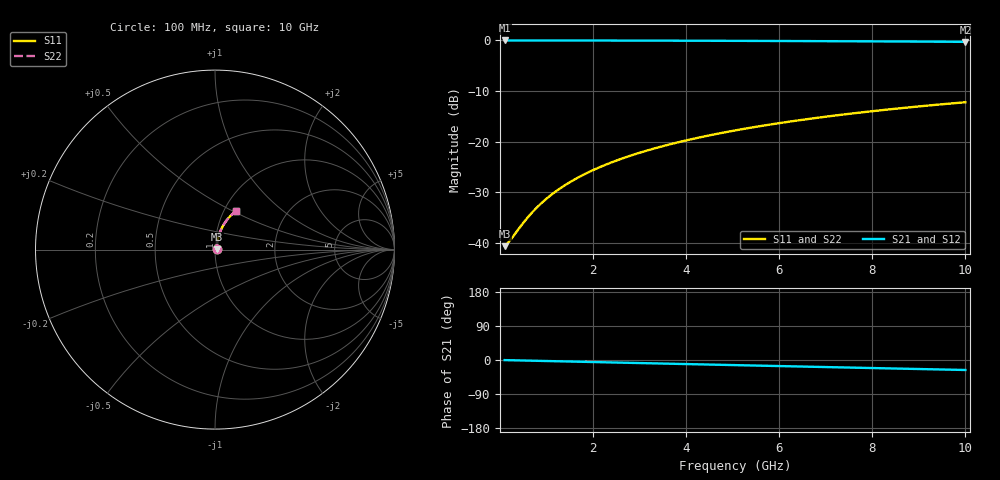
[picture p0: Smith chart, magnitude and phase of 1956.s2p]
# Hz S RI R 50.00
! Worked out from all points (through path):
!   100 points, 100 MHz to 10 GHz, reference 50 ohm
!   highest |S21| = -0.08 dB at 100 MHz (marker M1); lowest = -0.4 dB at 10 GHz (marker M2)
!   group delay of S21, straight-line fit = 7.33 ps
!   lowest |S11| = -40.6 dB at 100 MHz (marker M3), VSWR 1.02, Z = 50.9 + j0.258 ohm
!   |S11| at or under -10 dB: start of sweep to end of sweep
!   |S22| runs from -40.6 to -12.2 dB; largest |S21 - S12| = 0
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1e8  0.00897 0.00254  0.991 -0.00465  0.991 -0.00465  0.00897 0.00254
2e8  0.00907 0.00508  0.9909 -0.0093  0.9909 -0.0093  0.00907 0.00508
5e8  0.00942 0.0127  0.9905 -0.0232  0.9905 -0.0232  0.00942 0.0127
6e8  0.00958 0.0152  0.9903 -0.0279  0.9903 -0.0279  0.00958 0.0152
7e8  0.00976 0.0177  0.9901 -0.0325  0.9901 -0.0325  0.00976 0.0177
9e8  0.0102 0.0228  0.9896 -0.0418  0.9896 -0.0418  0.0102 0.0228
1.1e9  0.0107 0.0278  0.989 -0.0511  0.989 -0.0511  0.0107 0.0278
1.3e9  0.0113 0.0329  0.9883 -0.0603  0.9883 -0.0603  0.0113 0.0329
1.5e9  0.012 0.0379  0.9875 -0.0696  0.9875 -0.0696  0.012 0.0379
1.8e9  0.0132 0.0454  0.986 -0.0834  0.986 -0.0834  0.0132 0.0454
2.1e9  0.0146 0.0529  0.9844 -0.0972  0.9844 -0.0972  0.0146 0.0529
2.5e9  0.0168 0.0627  0.9817 -0.1155  0.9817 -0.1155  0.0168 0.0627
2.9e9  0.0194 0.0725  0.9787 -0.1337  0.9787 -0.1337  0.0194 0.0725
3.4e9  0.0231 0.0845  0.9742 -0.1563  0.9742 -0.1563  0.0231 0.0845
3.8e9  0.0265 0.094  0.9702 -0.1742  0.9702 -0.1742  0.0265 0.094
4.2e9  0.0302 0.1033  0.9658 -0.192  0.9658 -0.192  0.0302 0.1033
5.1e9  0.0397 0.1237  0.9543 -0.2314  0.9543 -0.2314  0.0397 0.1237
5.9e9  0.0496 0.141  0.9425 -0.2657  0.9425 -0.2657  0.0496 0.141
6.7e9  0.0606 0.1574  0.9292 -0.2991  0.9292 -0.2991  0.0606 0.1574
7.5e9  0.0727 0.1729  0.9144 -0.3315  0.9144 -0.3315  0.0727 0.1729
8.4e9  0.0875 0.1891  0.8963 -0.3668  0.8963 -0.3668  0.0875 0.1891
1e10  0.1166 0.2144  0.8605 -0.4262  0.8605 -0.4262  0.1166 0.2144
